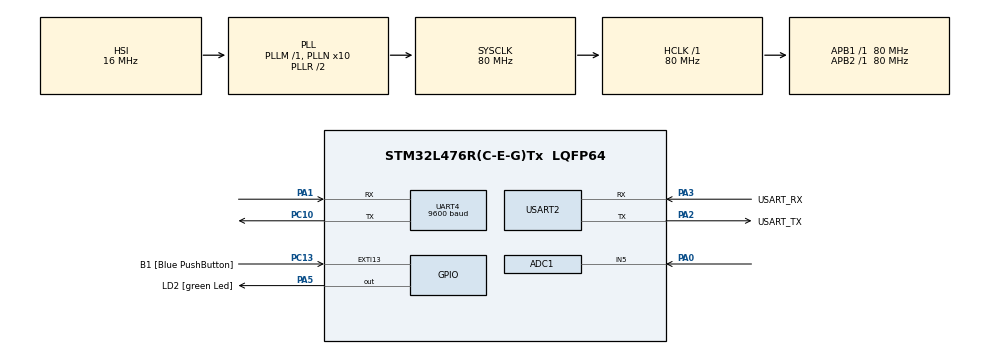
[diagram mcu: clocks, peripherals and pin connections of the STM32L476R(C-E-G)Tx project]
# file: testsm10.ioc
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ADC1.Channel-0\#ChannelRegularConversion=ADC_CHANNEL_VREFINT
ADC1.Channel-1\#ChannelRegularConversion=ADC_CHANNEL_5
ADC1.ContinuousConvMode=ENABLE
ADC1.EOCSelection=ADC_EOC_SEQ_CONV
ADC1.ExternalTrigConv=ADC_EXTERNALTRIG_T1_TRGO
ADC1.NbrOfConversion=2
ADC1.NbrOfConversionFlag=1
ADC1.OffsetNumber-0\#ChannelRegularConversion=ADC_OFFSET_NONE
ADC1.OffsetNumber-1\#ChannelRegularConversion=ADC_OFFSET_NONE
ADC1.Rank-0\#ChannelRegularConversion=1
ADC1.Rank-1\#ChannelRegularConversion=2
ADC1.SamplingTime-0\#ChannelRegularConversion=ADC_SAMPLETIME_640CYCLES_5
ADC1.SamplingTime-1\#ChannelRegularConversion=ADC_SAMPLETIME_640CYCLES_5
ADC1.master=1
Dma.ADC1.1.Direction=DMA_PERIPH_TO_MEMORY
Dma.ADC1.1.Instance=DMA1_Channel1
Dma.ADC1.1.MemDataAlignment=DMA_MDATAALIGN_HALFWORD
Dma.ADC1.1.MemInc=DMA_MINC_ENABLE
Dma.ADC1.1.Mode=DMA_CIRCULAR
Dma.ADC1.1.PeriphDataAlignment=DMA_PDATAALIGN_HALFWORD
Dma.ADC1.1.PeriphInc=DMA_PINC_DISABLE
Dma.ADC1.1.Priority=DMA_PRIORITY_LOW
Dma.Request0=UART4_RX
Dma.Request1=ADC1
Dma.UART4_RX.0.Direction=DMA_PERIPH_TO_MEMORY
Dma.UART4_RX.0.Instance=DMA2_Channel5
Dma.UART4_RX.0.MemDataAlignment=DMA_MDATAALIGN_BYTE
Dma.UART4_RX.0.MemInc=DMA_MINC_ENABLE
Dma.UART4_RX.0.Mode=DMA_CIRCULAR
Dma.UART4_RX.0.PeriphDataAlignment=DMA_PDATAALIGN_BYTE
Dma.UART4_RX.0.PeriphInc=DMA_PINC_DISABLE
Dma.UART4_RX.0.Priority=DMA_PRIORITY_LOW
Mcu.Family=STM32L4
Mcu.Name=STM32L476R(C-E-G)Tx
Mcu.Package=LQFP64
NVIC.DMA1_Channel1_IRQn=true\:0\:0\:false\:false\:true\:false\:true\:true
NVIC.DMA2_Channel5_IRQn=true\:0\:0\:false\:false\:true\:false\:true\:true
NVIC.PriorityGroup=NVIC_PRIORITYGROUP_4
NVIC.TIM2_IRQn=true\:0\:0\:false\:false\:true\:true\:true\:true
PA0.Signal=ADCx_IN5
PA1.Mode=Asynchronous
PA1.Signal=UART4_RX
PA13\ (JTMS-SWDIO).GPIO_Label=TMS
PA13\ (JTMS-SWDIO).Mode=Serial_Wire
PA13\ (JTMS-SWDIO).Signal=SYS_JTMS-SWDIO
PA14\ (JTCK-SWCLK).GPIO_Label=TCK
PA14\ (JTCK-SWCLK).Mode=Serial_Wire
PA14\ (JTCK-SWCLK).Signal=SYS_JTCK-SWCLK
PA2.GPIO_Label=USART_TX
PA2.GPIO_Mode=GPIO_MODE_AF_PP
PA2.GPIO_PuPd=GPIO_NOPULL
PA2.GPIO_Speed=GPIO_SPEED_FREQ_VERY_HIGH
PA2.Mode=Asynchronous
PA2.Signal=USART2_TX
PA3.GPIO_Label=USART_RX
PA3.GPIO_Mode=GPIO_MODE_AF_PP
PA3.GPIO_PuPd=GPIO_NOPULL
PA3.GPIO_Speed=GPIO_SPEED_FREQ_VERY_HIGH
PA3.Mode=Asynchronous
PA3.Signal=USART2_RX
PA5.GPIO_Label=LD2 [green Led]
PA5.GPIO_ModeDefaultOutputPP=GPIO_MODE_OUTPUT_PP
PA5.GPIO_PuPd=GPIO_NOPULL
PA5.GPIO_Speed=GPIO_SPEED_FREQ_LOW
PA5.Signal=GPIO_Output
PB3\ (JTDO-TRACESWO).GPIO_Label=SWO
PB3\ (JTDO-TRACESWO).Signal=SYS_JTDO-SWO
PC10.Mode=Asynchronous
PC10.Signal=UART4_TX
PC13.GPIO_Label=B1 [Blue PushButton]
PC13.GPIO_ModeDefaultEXTI=GPIO_MODE_IT_FALLING
PC13.GPIO_PuPd=GPIO_NOPULL
PC13.Signal=GPXTI13
PC14-OSC32_IN\ (PC14).Mode=LSE-External-Oscillator
PC14-OSC32_IN\ (PC14).Signal=RCC_OSC32_IN
PC15-OSC32_OUT\ (PC15).Mode=LSE-External-Oscillator
PC15-OSC32_OUT\ (PC15).Signal=RCC_OSC32_OUT
PH0-OSC_IN\ (PH0).Signal=RCC_OSC_IN
PH1-OSC_OUT\ (PH1).Signal=RCC_OSC_OUT
ProjectManager.HeapSize=0x200
ProjectManager.StackSize=0x400
ProjectManager.TargetToolchain=STM32CubeIDE
RCC.ADCFreq_Value=64000000
RCC.AHBFreq_Value=80000000
RCC.APB1Freq_Value=80000000
RCC.APB1TimFreq_Value=80000000
RCC.APB2Freq_Value=80000000
RCC.APB2TimFreq_Value=80000000
RCC.CortexFreq_Value=80000000
RCC.HCLKFreq_Value=80000000
RCC.HSE_VALUE=8000000
RCC.HSI_VALUE=16000000
RCC.MSI_VALUE=4000000
RCC.PLLN=10
RCC.PLLSourceVirtual=RCC_PLLSOURCE_HSI
RCC.PREFETCH_ENABLE=1
RCC.SYSCLKFreq_VALUE=80000000
RCC.SYSCLKSource=RCC_SYSCLKSOURCE_PLLCLK
RCC.USBFreq_Value=64000000
RCC.VCOOutputFreq_Value=160000000
SH.ADCx_IN5.0=ADC1_IN5,IN5-Single-Ended
TIM1.Period=800-1
TIM1.Prescaler=10000-1
TIM1.TIM_MasterOutputTrigger=TIM_TRGO_UPDATE
TIM2.Period=800-1
TIM2.Prescaler=10000-1
UART4.BaudRate=9600
USART2.VirtualMode-Asynchronous=VM_ASYNC
VP_ADC1_Vref_Input.Mode=IN-Vrefint
VP_TIM1_VS_ClockSourceINT.Mode=Internal
VP_TIM2_VS_ClockSourceINT.Mode=Internal
board=NUCLEO-L476RG

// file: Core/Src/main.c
/* USER CODE BEGIN Header */
/**
  ******************************************************************************
  * @file           : main.c
  * @brief          : Main program body
  ******************************************************************************
  * @attention
  *
  * Copyright (c) 2024 STMicroelectronics.
  * All rights reserved.
  *
  * This software is licensed under terms that can be found in the LICENSE file
  * in the root directory of this software component.
  * If no LICENSE file comes with this software, it is provided AS-IS.
  *
  ******************************************************************************
  */
/* USER CODE END Header */
#include "main.h"
#include "adc.h"
#include "dma.h"
#include "tim.h"
#include "usart.h"
#include "gpio.h"

/* USER CODE BEGIN Includes */
#include "nmea_parse.h"
/* USER CODE END Includes */

/* USER CODE BEGIN PV */
uint8_t RxBuffer[RxBuffer_SIZE];
uint8_t DataBuffer[DataBuffer_SIZE];
uint16_t oldPos=0;
uint16_t newPos=0;
uint8_t commandbuffer[128];
uint16_t adcvalues[2];
float tension=0.0;
uint16_t sendadcvalues[10];
uint8_t uart2buf[20];
int senderen=0;
int tim2indx=0;
uint8_t vrefcalval=0;
/* USER CODE END PV */

void SystemClock_Config(void);

int main(void)
{

  /* MCU Configuration--------------------------------------------------------*/

  /* Reset of all peripherals, Initializes the Flash interface and the Systick. */
  HAL_Init();

  /* Configure the system clock */
  SystemClock_Config();

  /* Initialize all configured peripherals */
  MX_GPIO_Init();
  MX_DMA_Init();
  MX_USART2_UART_Init();
  MX_UART4_Init();
  MX_ADC1_Init();
  MX_TIM1_Init();
  MX_TIM2_Init();
  /* USER CODE BEGIN 2 */

  memcpy((uint8_t *)commandbuffer, "", sizeof(""));

  HAL_Delay(100);
  HAL_UART_Abort(&huart4);
  HAL_UART_Receive_DMA(&huart4, (uint8_t *)RxBuffer, RxBuffer_SIZE);

  HAL_ADC_Start_DMA(&hadc1, (uint32_t *) adcvalues, 2);
  HAL_TIM_Base_Start(&htim1);
  HAL_TIM_Base_Start_IT(&htim2);
  vrefcalval=VREFCAL;

  /* USER CODE END 2 */
  int sizeb=0;

  /* Infinite loop */
  while (1)
  {
	  if(senderen==1){
		  for(int i=0;i<10;i++){
			  sizeb=snprintf((char *)uart2buf,15, "%0.3f\r\n",( float)sendadcvalues[i]/1000.0);
			  HAL_UART_Transmit(&huart2, (char *)uart2buf, sizeb, 100);

		  }
	  }

  }
}

void SystemClock_Config(void)
{
  RCC_OscInitTypeDef RCC_OscInitStruct = {0};
  RCC_ClkInitTypeDef RCC_ClkInitStruct = {0};

  /** Configure the main internal regulator output voltage
  */
  if (HAL_PWREx_ControlVoltageScaling(PWR_REGULATOR_VOLTAGE_SCALE1) != HAL_OK)
  {
    Error_Handler();
  }

  /** Initializes the RCC Oscillators according to the specified parameters
  * in the RCC_OscInitTypeDef structure.
  */
  RCC_OscInitStruct.OscillatorType = RCC_OSCILLATORTYPE_HSI;
  RCC_OscInitStruct.HSIState = RCC_HSI_ON;
  RCC_OscInitStruct.HSICalibrationValue = RCC_HSICALIBRATION_DEFAULT;
  RCC_OscInitStruct.PLL.PLLState = RCC_PLL_ON;
  RCC_OscInitStruct.PLL.PLLSource = RCC_PLLSOURCE_HSI;
  RCC_OscInitStruct.PLL.PLLM = 1;
  RCC_OscInitStruct.PLL.PLLN = 10;
  RCC_OscInitStruct.PLL.PLLP = RCC_PLLP_DIV7;
  RCC_OscInitStruct.PLL.PLLQ = RCC_PLLQ_DIV2;
  RCC_OscInitStruct.PLL.PLLR = RCC_PLLR_DIV2;
  if (HAL_RCC_OscConfig(&RCC_OscInitStruct) != HAL_OK)
  {
    Error_Handler();
  }

  /** Initializes the CPU, AHB and APB buses clocks
  */
  RCC_ClkInitStruct.ClockType = RCC_CLOCKTYPE_HCLK|RCC_CLOCKTYPE_SYSCLK
                              |RCC_CLOCKTYPE_PCLK1|RCC_CLOCKTYPE_PCLK2;
  RCC_ClkInitStruct.SYSCLKSource = RCC_SYSCLKSOURCE_PLLCLK;
  RCC_ClkInitStruct.AHBCLKDivider = RCC_SYSCLK_DIV1;
  RCC_ClkInitStruct.APB1CLKDivider = RCC_HCLK_DIV1;
  RCC_ClkInitStruct.APB2CLKDivider = RCC_HCLK_DIV1;

  if (HAL_RCC_ClockConfig(&RCC_ClkInitStruct, FLASH_LATENCY_4) != HAL_OK)
  {
    Error_Handler();
  }
}

void Error_Handler(void)
{
  __disable_irq();
  while (1)
  {
  }
}
